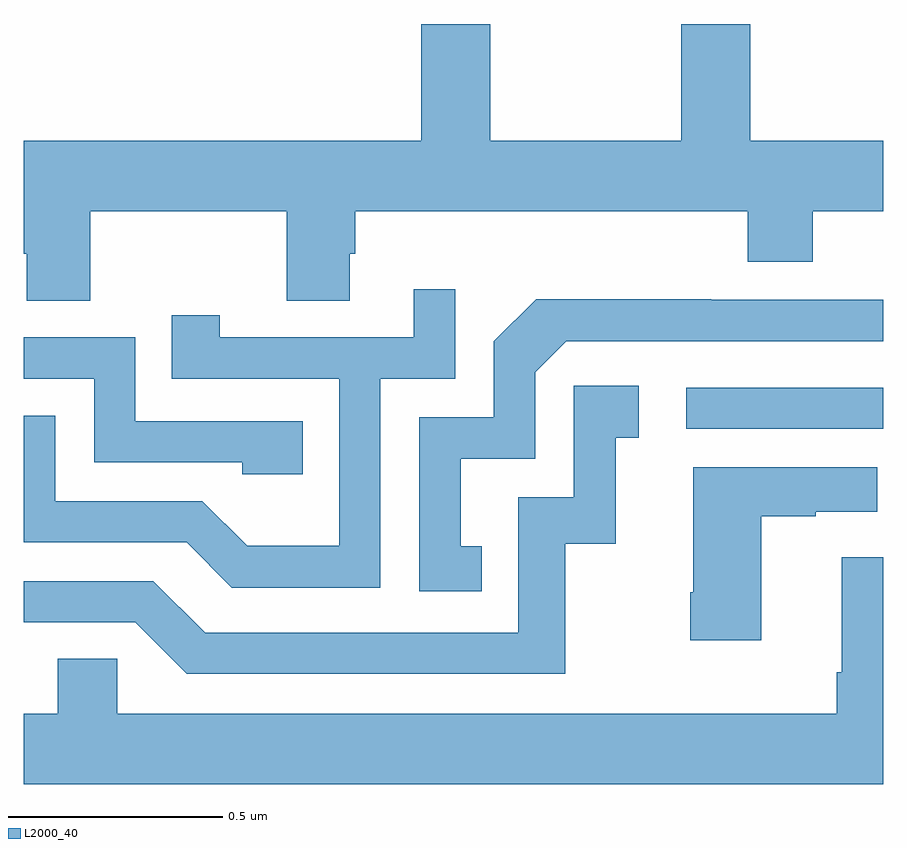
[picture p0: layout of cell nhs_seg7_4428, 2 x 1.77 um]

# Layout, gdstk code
import gdstk
lib = gdstk.Library(unit=1e-6, precision=1e-09)
def R(c, l, rs):  # rectangles x0, y0, x1, y1
    for r in rs: c.add(gdstk.rectangle(r[:2], r[2:], *l))
def P(c, l, *ps):  # polygons
    for p in ps: c.add(gdstk.Polygon(p, *l))
L2000_40 = (2000, 40)

nhs_seg7_4428 = lib.new_cell('nhs_seg7_4428')
R(nhs_seg7_4428, L2000_40, [(173.541,1052.058,174,1052.154)])
P(nhs_seg7_4428, L2000_40, [(172.155,1052.564),(172.612,1052.564),(172.612,1052.356),(172.759,1052.356),(172.759,1052.466),(172.772,1052.466),(172.772,1052.564),(173.684,1052.564),(173.684,1052.447),(173.836,1052.447),(173.836,1052.564),(174,1052.564),(174,1052.728),(173.69,1052.728),(173.69,1053),(173.53,1053),(173.53,1052.728),(173.085,1052.728),(173.085,1053),(172.925,1053),(172.925,1052.728),(172,1052.728),(172,1052.466),(172.007,1052.466),(172.007,1052.356),(172.155,1052.356)],
  [(172.83,1052.175),(173.004,1052.175),(173.004,1052.383),(172.907,1052.383),(172.907,1052.271),(172.456,1052.271),(172.456,1052.323),(172.345,1052.323),(172.345,1052.175),(172.734,1052.175),(172.734,1051.786),(172.52,1051.786),(172.416,1051.89),(172.074,1051.89),(172.074,1052.089),(172,1052.089),(172,1051.794),(172.379,1051.794),(172.484,1051.689),(172.83,1051.689)],
  [(173.066,1051.785),(173.017,1051.785),(173.017,1051.989),(173.19,1051.989),(173.19,1052.19),(173.262,1052.262),(174,1052.262),(174,1052.358),(173.6,1052.358),(173.6,1052.36),(173.192,1052.36),(173.094,1052.262),(173.094,1052.085),(172.92,1052.085),(172.92,1051.68),(173.066,1051.68)],
  [(172.649,1052.076),(172.26,1052.076),(172.26,1052.271),(172,1052.271),(172,1052.175),(172.164,1052.175),(172.164,1051.98),(172.509,1051.98),(172.509,1051.953),(172.649,1051.953)],
  [(173.26,1051.791),(173.378,1051.791),(173.378,1052.037),(173.431,1052.037),(173.431,1052.158),(173.28,1052.158),(173.28,1051.899),(173.151,1051.899),(173.151,1051.584),(172.422,1051.584),(172.302,1051.704),(172,1051.704),(172,1051.608),(172.26,1051.608),(172.38,1051.488),(173.26,1051.488)],
  [(173.716,1051.855),(173.843,1051.855),(173.843,1051.865),(173.986,1051.865),(173.986,1051.969),(173.558,1051.969),(173.558,1051.678),(173.551,1051.678),(173.551,1051.566),(173.716,1051.566)],
  [(174,1051.759),(173.903,1051.759),(173.903,1051.492),(173.891,1051.492),(173.891,1051.396),(172.218,1051.396),(172.218,1051.523),(172.079,1051.523),(172.079,1051.396),(172,1051.396),(172,1051.232),(174,1051.232)])

lib.write_gds('nhs_seg7_4428.gds')
